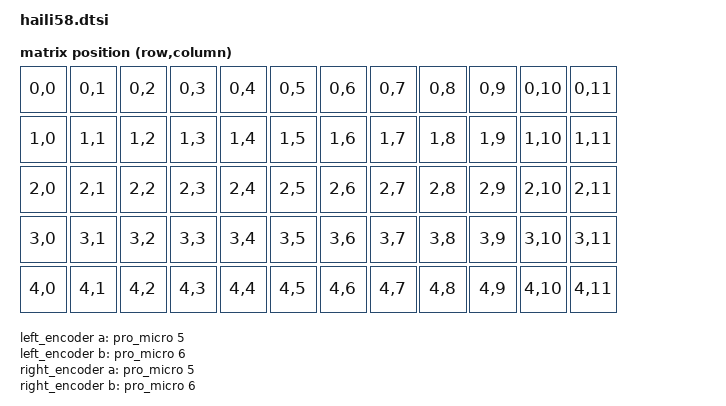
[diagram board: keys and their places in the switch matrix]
#include "haili58-layouts.dtsi"
#include <dt-bindings/zmk/matrix_transform.h>

/ {
    chosen {
        zephyr,display = &oled;
    };

    matrix_transform0: matrix_transform0 {
        compatible = "zmk,matrix-transform";
        columns = <12>;
        rows = <5>;
        map = <
            RC(0,0) RC(0,1) RC(0,2) RC(0,3) RC(0,4) RC(0,5) RC(0,6) RC(0,7) RC(0,8) RC(0,9) RC(0,10) RC(0,11)
            RC(1,0) RC(1,1) RC(1,2) RC(1,3) RC(1,4) RC(1,5) RC(1,6) RC(1,7) RC(1,8) RC(1,9) RC(1,10) RC(1,11)
            RC(2,0) RC(2,1) RC(2,2) RC(2,3) RC(2,4) RC(2,5) RC(2,6) RC(2,7) RC(2,8) RC(2,9) RC(2,10) RC(2,11)
            RC(3,0) RC(3,1) RC(3,2) RC(3,3) RC(3,4) RC(3,5) RC(3,6) RC(3,7) RC(3,8) RC(3,9) RC(3,10) RC(3,11)
            RC(4,0) RC(4,1) RC(4,2) RC(4,3) RC(4,4) RC(4,5) RC(4,6) RC(4,7) RC(4,8) RC(4,9) RC(4,10) RC(4,11)
        >;
    };
};

&physical_layout_haili58 {
    transform = <&matrix_transform0>;
};

// Encoders for all parts of the keyboard.
// If the encoder(s) are not behaving as expected,
// update steps and triggers-per-rotation to match your hardware.
// All pin assignments are done in the part overlays.

/ {
    left_encoder: encoder_left {
        compatible = "alps,ec11";
        a-gpios = <&pro_micro 5 (GPIO_ACTIVE_HIGH | GPIO_PULL_UP)>;
        b-gpios = <&pro_micro 6 (GPIO_ACTIVE_HIGH | GPIO_PULL_UP)>;
        steps = <80>;
        status = "disabled";
    };

        right_encoder: encoder_right {
        compatible = "alps,ec11";
        a-gpios = <&pro_micro 5 (GPIO_ACTIVE_HIGH | GPIO_PULL_UP)>;
        b-gpios = <&pro_micro 6 (GPIO_ACTIVE_HIGH | GPIO_PULL_UP)>;
        steps = <80>;
        status = "disabled";
    };
    sensors: sensors {
        compatible = "zmk,keymap-sensors";
        sensors = <&left_encoder &right_encoder>;
        triggers-per-rotation = <20>;
    };
};

// Rotary encoder positions for the DYA Studio keyboard preview.
//
// CONFIG_ZMK_PHYSICAL_LAYOUTS_FEATURE (zmk-feature-module-physical-layout)
// draws these on top of the official ZMK key physical layout. Coordinates use
// the same unit as `haili58-layouts.dtsi` above: one key is 100 x 100, and the
// whole keyboard spans x = 0..1650, y = 0..600.
//
// The order of `encoders` is the sensor index used by `sensor-bindings` in the
// keymap, i.e. 0 = left encoder, 1 = right encoder. The knobs are placed in the
// empty outer bottom corner, below the outer column and outboard of the thumb
// arc. Move the x/y values if yours sit elsewhere — this is preview art, and
// nothing else in the firmware depends on it. Mirror the other half with
// x = 1650 - x_left - size.
/ {
    dya_rotary_encoders: dya_rotary_encoders {
        compatible = "cormoran,physical-layout-rotary-encoders";
        display-name = "Rotary Encoders";
        encoders = <&dya_encoder_left &dya_encoder_right>;
    };

    dya_encoder_left: dya_encoder_left {
        compatible = "cormoran,physical-layout-rotary-encoder";
        size = <120>;
        x = <150>;
        y = <470>;
    };

    dya_encoder_right: dya_encoder_right {
        compatible = "cormoran,physical-layout-rotary-encoder";
        size = <120>;
        x = <1380>;
        y = <470>;
    };
};

